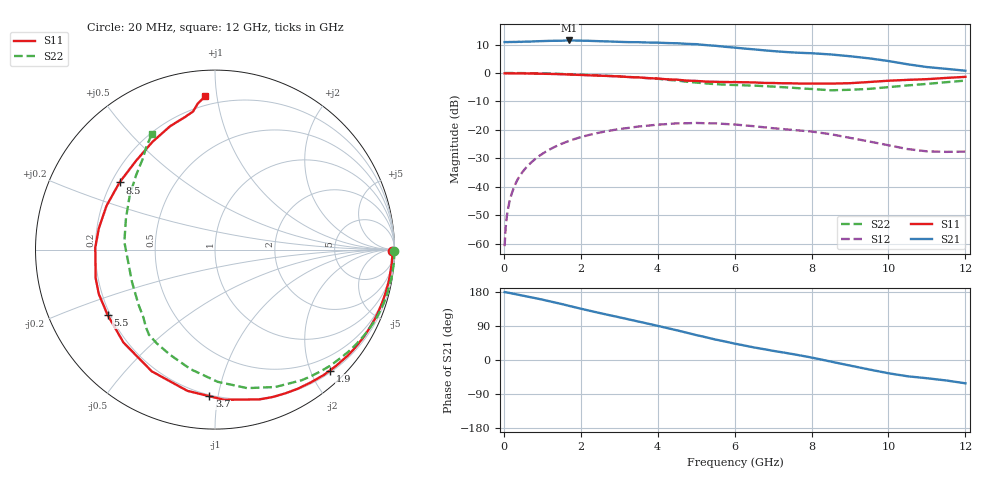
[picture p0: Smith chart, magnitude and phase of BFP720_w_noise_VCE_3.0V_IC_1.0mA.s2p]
! Infineon Technologies  Discrete & RF Semiconductors
! BFP720
! VCE =  3.0 V,  IC =  1.0 mA
! Common Emitter S-Parameters:  Aug 2012
# GHz  S  MA  R  50
!  f  S11  S21  S12  S22
! GHz  MAG  ANG  MAG  ANG  MAG  ANG  MAG  ANG
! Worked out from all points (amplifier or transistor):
!   104 points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, 20 MHz to 12 GHz, reference 50 ohm
!   highest |S21| = 11.4 dB at 1.7 GHz (marker M1)
!   |S21| within 3 dB of that: start of sweep to 6.386 GHz
!   unconditionally stable (mu >= 1): 8.209 GHz to 11.91 GHz
!   at 350 MHz: K = 0.00, MSG = 24.3 dB, |S12| = -37.7 dB
!   at 3.7 GHz: K = 0.26, MSG = 14.7 dB, |S12| = -18.6 dB
!   at 12 GHz: K = 0.93, MSG = 14.2 dB, |S12| = -27.7 dB
!   lowest NFmin = 0.50 dB at 450 MHz
!   S11 on the Smith chart (normalised r, x): 20 MHz: open; 1.9 GHz: 0.24, -2.31; 3.7 GHz: 0.19, -0.94; 5.5 GHz: 0.19, -0.27; 8.5 GHz: 0.23, +0.30; 12 GHz: 0.15, +0.93
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0.02  0.9878 -0.4  3.5 179.2  0.0009 95.0  0.9993 -0.3
0.05  0.987 -1.1  3.504 178.6  0.002 83.8  0.9987 -0.9
0.12  0.9885 -2.7  3.501 177.5  0.0045 87.2  0.9992 -2.2
0.25  0.9864 -5.6  3.52 174.8  0.0092 85.8  0.9992 -4.5
0.4  0.9848 -9.0  3.545 171.8  0.0149 83.4  0.9966 -7.2
1.1  0.9668 -25.8  3.66 157.0  0.0417 70.4  0.9815 -20.3
1.7  0.9395 -41.4  3.736 142.7  0.0641 58.2  0.9521 -32.0
1.9  0.9288 -46.5  3.717 137.9  0.0711 53.9  0.9411 -35.8
2.1  0.9177 -51.6  3.691 133.1  0.0776 49.7  0.9281 -39.6
2.8  0.8817 -68.7  3.574 117.1  0.098 35.6  0.8855 -52.8
3.7  0.8174 -92.2  3.444 97.0  0.1177 17.7  0.815 -70.4
4.1  0.7893 -104.2  3.395 87.8  0.1247 9.9  0.7783 -79.2
4.5  0.7643 -117.5  3.34 78.3  0.1302 1.9  0.7366 -88.9
5  0.7267 -134.6  3.217 65.8  0.1323 -8.6  0.6797 -101.6
5.5  0.7004 -148.7  3.012 54.0  0.1303 -18.6  0.638 -112.8
6.1  0.6903 -160.6  2.755 41.3  0.1225 -29.1  0.6117 -122.9
7  0.667 179.0  2.43 24.2  0.1069 -41.6  0.5771 -131.9
8  0.6518 158.1  2.228 6.5  0.0935 -52.6  0.5233 -144.8
8.5  0.6503 144.9  2.119 -4.1  0.0838 -59.0  0.4966 -158.6
9.5  0.6943 120.1  1.809 -25.0  0.0624 -64.5  0.526 160.6
10.5  0.757 102.8  1.423 -43.0  0.0459 -60.6  0.6051 136.5
12  0.8556 93.7  1.097 -61.5  0.0414 -42.4  0.7349 118.5
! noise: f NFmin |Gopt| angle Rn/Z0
0.45  0.5  0.77  6  0.47
1.8  0.64  0.73  31  0.38
2.4  0.76  0.64  82  0.29
5.5  1.17  0.53  99  0.14
10  1.87  0.55  -118  0.28
